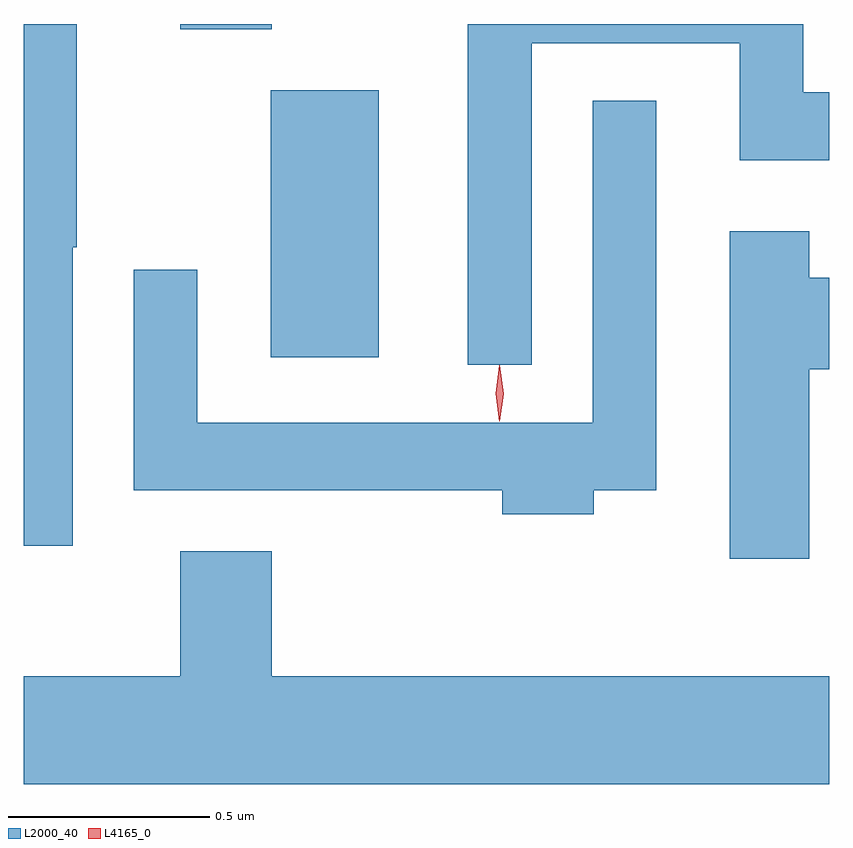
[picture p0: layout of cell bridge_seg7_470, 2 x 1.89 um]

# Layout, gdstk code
import gdstk
lib = gdstk.Library(unit=1e-6, precision=1e-09)
def R(c, l, rs):  # rectangles x0, y0, x1, y1
    for r in rs: c.add(gdstk.rectangle(r[:2], r[2:], *l))
def P(c, l, *ps):  # polygons
    for p in ps: c.add(gdstk.Polygon(p, *l))
L2000_40 = (2000, 40)
L4165_0 = (4165, 0)

bridge_seg7_470 = lib.new_cell('bridge_seg7_470')
R(bridge_seg7_470, L2000_40, [(1148.406,1713.156,1148.674,1713.819), (1148.181,1713.971,1148.409,1713.984)])
P(bridge_seg7_470, L2000_40, [(1147.914,1713.43),(1147.924,1713.43),(1147.924,1713.984),(1147.793,1713.984),(1147.793,1712.688),(1147.914,1712.688)],
  [(1149.054,1713.936),(1149.571,1713.936),(1149.571,1713.646),(1149.793,1713.646),(1149.793,1713.814),(1149.729,1713.814),(1149.729,1713.984),(1148.896,1713.984),(1148.896,1713.138),(1149.054,1713.138)],
  [(1149.209,1712.826),(1149.364,1712.826),(1149.364,1713.793),(1149.206,1713.793),(1149.206,1712.994),(1148.224,1712.994),(1148.224,1713.373),(1148.066,1713.373),(1148.066,1712.826),(1148.981,1712.826),(1148.981,1712.766),(1149.209,1712.766)],
  [(1149.744,1713.126),(1149.793,1713.126),(1149.793,1713.354),(1149.744,1713.354),(1149.744,1713.469),(1149.546,1713.469),(1149.546,1712.656),(1149.744,1712.656)],
  [(1149.793,1712.364),(1148.409,1712.364),(1148.409,1712.674),(1148.181,1712.674),(1148.181,1712.364),(1147.793,1712.364),(1147.793,1712.096),(1149.793,1712.096)])
P(bridge_seg7_470, L4165_0, [(1148.975,1712.999),(1148.974,1713),(1148.965,1713.066),(1148.974,1713.132),(1148.975,1713.133),(1148.975,1713.132),(1148.985,1713.066),(1148.975,1713)],
  [(1148.974,1712.997),(1148.965,1713.066),(1148.974,1713.136),(1148.975,1713.136),(1148.975,1713.136),(1148.985,1713.066),(1148.975,1712.997),(1148.975,1712.997)])

lib.write_gds('bridge_seg7_470.gds')
